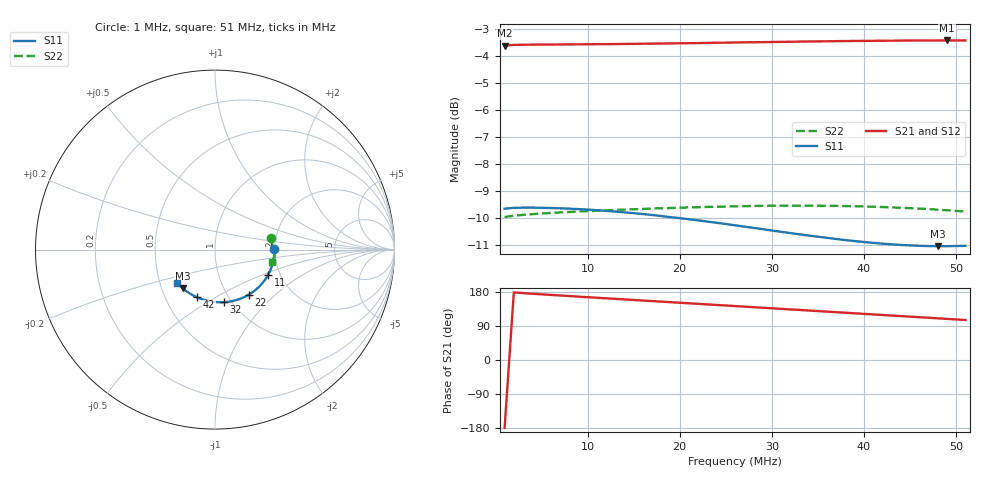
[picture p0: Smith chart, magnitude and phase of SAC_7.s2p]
# MHz S RI R 50
! S-Parameters data
! Freq  reS11  imS11  reS21  imS21  reS12  imS12  reS22  imS22
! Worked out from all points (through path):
!   51 points, 1 MHz to 51 MHz, reference 50 ohm
!   highest |S21| = -3.43 dB at 49 MHz (marker M1); lowest = -3.6 dB at 1 MHz (marker M2)
!   lowest |S11| = -11.0 dB at 48 MHz (marker M3), VSWR 1.78, Z = 32.1 - j15.1 ohm
!   |S11| at or under -10 dB: 20.18 MHz to end of sweep
!   |S22| runs from -9.9 to -9.5 dB; largest |S21 - S12| = 0.006
!   S11 on the Smith chart (normalised r, x): 1 MHz: 1.98, +0.01; 11 MHz: 1.73, -0.55; 22 MHz: 1.24, -0.69; 32 MHz: 0.92, -0.59; 42 MHz: 0.72, -0.42; 51 MHz: 0.61, -0.24
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1  0.3294 0.00214  -0.6591 -0.0131  -0.6651 -0.0138  0.312 0.0622
2  0.3301 -0.0185  -0.6609 0.018  -0.6667 0.018  0.318 0.0329
3  0.3291 -0.0346  -0.6604 0.0397  -0.6664 0.0402  0.3202 0.0222
4  0.3272 -0.0494  -0.6592 0.0589  -0.6651 0.0597  0.3215 0.0166
6  0.3213 -0.0773  -0.6553 0.0948  -0.6611 0.0961  0.3234 0.00972
10  0.3015 -0.1299  -0.6426 0.1629  -0.6479 0.1652  0.3261 0.00192
11  0.2948 -0.1422  -0.6384 0.1795  -0.6435 0.182  0.3266 0.000366
15  0.2627 -0.1882  -0.6175 0.2441  -0.622 0.2476  0.3286 -0.00568
18  0.2329 -0.2185  -0.5978 0.2912  -0.6019 0.2953  0.3298 -0.01
22  0.1867 -0.2518  -0.5662 0.3513  -0.5692 0.3558  0.3311 -0.0161
26  0.1342 -0.2761  -0.5287 0.4082  -0.5307 0.4131  0.332 -0.0226
29  0.0919 -0.2877  -0.4966 0.4482  -0.4978 0.453  0.3323 -0.0278
32  0.0477 -0.2932  -0.4614 0.4858  -0.4619 0.4907  0.3321 -0.0331
35  0.00284 -0.2924  -0.4234 0.5207  -0.4232 0.5253  0.3314 -0.0386
37  -0.0271 -0.2883  -0.3964 0.5423  -0.3958 0.5465  0.3307 -0.0424
39  -0.0567 -0.2814  -0.3683 0.5624  -0.3674 0.5665  0.3297 -0.0461
42  -0.1 -0.2657  -0.3242 0.5897  -0.323 0.5934  0.3277 -0.0518
43  -0.114 -0.2592  -0.3091 0.5979  -0.3078 0.6015  0.3269 -0.0537
45  -0.1411 -0.2441  -0.2783 0.6133  -0.2766 0.6165  0.3252 -0.0574
48  -0.179 -0.2165  -0.2304 0.633  -0.2283 0.636  0.322 -0.0628
49  -0.1908 -0.2062  -0.214 0.6388  -0.212 0.6414  0.3208 -0.0645
51  -0.2129 -0.1839  -0.1812 0.6489  -0.179 0.651  0.3182 -0.068
